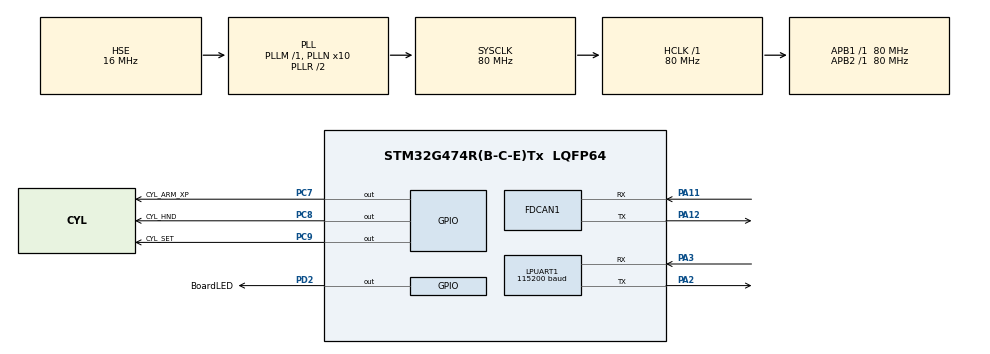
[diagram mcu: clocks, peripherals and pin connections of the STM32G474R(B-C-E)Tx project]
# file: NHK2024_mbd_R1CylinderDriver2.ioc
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FDCAN1.AutoRetransmission=DISABLE
FDCAN1.CalculateBaudRateNominal=1000000
FDCAN1.CalculateTimeBitNominal=1000
FDCAN1.CalculateTimeQuantumNominal=50.0
FDCAN1.DataPrescaler=2
FDCAN1.DataTimeSeg1=15
FDCAN1.DataTimeSeg2=4
FDCAN1.FrameFormat=FDCAN_FRAME_FD_BRS
FDCAN1.NominalPrescaler=4
FDCAN1.NominalTimeSeg1=15
FDCAN1.NominalTimeSeg2=4
FDCAN1.ProtocolException=ENABLE
FDCAN1.StdFiltersNbr=1
IWDG.Prescaler=IWDG_PRESCALER_32
IWDG.Reload=999
IWDG.Window=999
LPUART1.BaudRate=115200
Mcu.Family=STM32G4
Mcu.Name=STM32G474R(B-C-E)Tx
Mcu.Package=LQFP64
NVIC.FDCAN1_IT0_IRQn=true\:1\:0\:true\:false\:true\:true\:true\:true
NVIC.PriorityGroup=NVIC_PRIORITYGROUP_4
NVIC.TIM7_DAC_IRQn=true\:1\:0\:true\:false\:true\:true\:true\:true
PA11.Mode=FDCAN_Activate
PA11.Signal=FDCAN1_RX
PA12.Mode=FDCAN_Activate
PA12.Signal=FDCAN1_TX
PA13.Mode=Serial_Wire
PA13.Signal=SYS_JTMS-SWDIO
PA14.Mode=Serial_Wire
PA14.Signal=SYS_JTCK-SWCLK
PA2.Mode=Asynchronous
PA2.Signal=LPUART1_TX
PA3.Mode=Asynchronous
PA3.Signal=LPUART1_RX
PC7.GPIO_Label=CYL_ARM_XP
PC7.Signal=GPIO_Output
PC8.GPIO_Label=CYL_HND
PC8.Signal=GPIO_Output
PC9.GPIO_Label=CYL_SET
PC9.Signal=GPIO_Output
PD2.GPIO_Label=BoardLED
PD2.Signal=GPIO_Output
PF0-OSC_IN.Mode=HSE-External-Oscillator
PF0-OSC_IN.Signal=RCC_OSC_IN
PF1-OSC_OUT.Mode=HSE-External-Oscillator
PF1-OSC_OUT.Signal=RCC_OSC_OUT
ProjectManager.HeapSize=0x200
ProjectManager.StackSize=0x400
ProjectManager.TargetToolchain=STM32CubeIDE
RCC.ADC12Freq_Value=80000000
RCC.ADC345Freq_Value=80000000
RCC.AHBFreq_Value=80000000
RCC.APB1Freq_Value=80000000
RCC.APB1TimFreq_Value=80000000
RCC.APB2Freq_Value=80000000
RCC.APB2TimFreq_Value=80000000
RCC.CortexFreq_Value=80000000
RCC.EXTERNAL_CLOCK_VALUE=12288000
RCC.HCLKFreq_Value=80000000
RCC.HSE_VALUE=16000000
RCC.HSI48_VALUE=48000000
RCC.HSI_VALUE=16000000
RCC.LSE_VALUE=32768
RCC.PLLN=10
RCC.PLLSourceVirtual=RCC_PLLSOURCE_HSE
RCC.SYSCLKFreq_VALUE=80000000
RCC.SYSCLKSource=RCC_SYSCLKSOURCE_PLLCLK
RCC.USBFreq_Value=80000000
RCC.VCOOutputFreq_Value=160000000
TIM7.PeriodNoDither=4999
TIM7.Prescaler=7999
VP_IWDG_VS_IWDG.Mode=IWDG_Activate
VP_SYS_VS_DBSignals.Mode=DisableDeadBatterySignals
VP_TIM7_VS_ClockSourceINT.Mode=Enable_Timer
board=custom

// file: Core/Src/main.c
/* USER CODE BEGIN Header */
/**
  ******************************************************************************
  * @file           : main.c
  * @brief          : Main program body
  ******************************************************************************
  * @attention
  *
  * Copyright (c) 2024 STMicroelectronics.
  * All rights reserved.
  *
  * This software is licensed under terms that can be found in the LICENSE file
  * in the root directory of this software component.
  * If no LICENSE file comes with this software, it is provided AS-IS.
  *
  ******************************************************************************
  */

//単体で動かすときには苗アー�?との衝突に十�?気を付けること
/* USER CODE END Header */
#include "main.h"

/* USER CODE BEGIN Includes */
#include <stdio.h>
#include "R1CANIDList.h"

/* USER CODE END Includes */

/* USER CODE BEGIN PM */
#define CATCH 0
#define READY 1

#define UNEXPAND 1 // アーム格納
#define EXPAND 0 // アーム展開

#define DELAY 800

#define SHOOT 1
#define BACK 0

#define FALSE 0
#define TRUE 1
/* USER CODE END PM */

FDCAN_HandleTypeDef hfdcan1;

IWDG_HandleTypeDef hiwdg;

UART_HandleTypeDef hlpuart1;

TIM_HandleTypeDef htim7;

/* USER CODE BEGIN PV */
uint8_t isCatching = TRUE;

FDCAN_TxHeaderTypeDef FDCAN1_TxHeader;
FDCAN_RxHeaderTypeDef RxHeader;
uint8_t RxData[1];
/* USER CODE END PV */

void SystemClock_Config(void);
static void MX_GPIO_Init(void);
static void MX_FDCAN1_Init(void);
static void MX_LPUART1_UART_Init(void);
static void MX_TIM7_Init(void);
static void MX_IWDG_Init(void);
/* USER CODE BEGIN PFP */
void Hand_Catch(uint8_t hand_state);
void Arm_Expander(uint8_t UE);
void Shoot(uint8_t isShoot);
void Hand_Ready(void);

/* USER CODE END PFP */

/* USER CODE BEGIN 0 */
void Arm_Expander(uint8_t UE){
	if(UE == EXPAND){
		HAL_GPIO_WritePin(CYL_ARM_XP_GPIO_Port, CYL_ARM_XP_Pin, GPIO_PIN_SET);
	}
	else if(UE == UNEXPAND){
		HAL_GPIO_WritePin(CYL_ARM_XP_GPIO_Port, CYL_ARM_XP_Pin, GPIO_PIN_RESET);
	}
}

void Shoot(uint8_t isShoot){
	//ハンドが想定して�?な�?位置のまま�?填機構を稼働しな�?ためのコー�?
//	if(isCatching == FALSE){
////		Hand_Catch();
////		HAL_Delay(DELAY);
//	    printf("FALSE");
//	    return;
//	}

	if (isShoot == SHOOT) {
	    printf("SHOOT\r\n");
	    Arm_Expander(UNEXPAND);
	    Hand_Catch(CATCH);
	    HAL_GPIO_WritePin(CYL_SET_GPIO_Port, CYL_SET_Pin, GPIO_PIN_SET);
	} else if (isShoot == BACK) {
	    printf("BACK\r\n");
	    Arm_Expander(UNEXPAND);
	    Hand_Catch(CATCH);
	    HAL_GPIO_WritePin(CYL_SET_GPIO_Port, CYL_SET_Pin, GPIO_PIN_RESET);
	} else {
	    return;
	}
//	//�?填
//	HAL_GPIO_WritePin(CYL_SET_GPIO_Port, CYL_SET_Pin, GPIO_PIN_SET);
//	HAL_Delay(DELAY);
//	//�?填機構を戻�?
//	HAL_GPIO_WritePin(CYL_SET_GPIO_Port, CYL_SET_Pin, GPIO_PIN_RESET);
//	HAL_Delay(DELAY);
}

void Hand_Catch(uint8_t hand_state){
	//ハンドを閉じ�?
  if (hand_state == READY) {
      HAL_GPIO_WritePin(CYL_HND_GPIO_Port, CYL_HND_Pin, GPIO_PIN_SET);
      isCatching = FALSE;
  } else if (hand_state == CATCH) {
      HAL_GPIO_WritePin(CYL_HND_GPIO_Port, CYL_HND_Pin, GPIO_PIN_RESET);
      isCatching = TRUE;
  }
}

//ハンドをボールキャッチ待機状態に
void Hand_Ready(void){
	//ハンドを開く
	HAL_GPIO_WritePin(CYL_HND_GPIO_Port, CYL_HND_Pin, GPIO_PIN_SET);
	HAL_Delay(DELAY);
	//ハンドを下げ�?
	HAL_GPIO_WritePin(CYL_HND_GPIO_Port, CYL_HND_Pin, GPIO_PIN_SET);
	isCatching = FALSE;
}

void HAL_FDCAN_RxFifo0Callback(FDCAN_HandleTypeDef *hfdcan, uint32_t RxFifo0ITs){
	if ((RxFifo0ITs & FDCAN_IT_RX_FIFO0_NEW_MESSAGE) != RESET) {
		 if (HAL_FDCAN_GetRxMessage(hfdcan, FDCAN_RX_FIFO0, &RxHeader, RxData) != HAL_OK) {
			Error_Handler();
		}

//		 __disable_irq();

		switch(RxHeader.Identifier){
		case CANID_BALL_HAND_UNEXPAND:
		  /*
		   * 0 => Expand
		   * 1 => UnExpand
		   */
			Arm_Expander(RxData[0]);
			if (RxData[0] == 0) {
			    printf("ARM UnExpand\r\n");
			} else {
			    printf("ARM Expand\r\n");
			}
			break;

		case CANID_BALL_EJECTOR_CONTROLE:
			Shoot(RxData[0]);
			printf("Shoot %d\r\n", RxData[0]);
			break;

		case CANID_BALL_HAND_OPEN:
		  if (RxData[0] == CATCH) {
		      printf("Catch\r\n");
		      Hand_Catch(CATCH);
		  } else if (RxData[0] == READY) {
		      printf("Ready\r\n");
		      Hand_Catch(READY);
		  } else {
		      printf("error\r\n");
		  }
			break;

		case CANID_CHECK_IS_ACTIVE:
      if (HAL_IWDG_Refresh(&hiwdg) != HAL_OK)
      {
        Error_Handler();
      }
      break;

		default:
			break;
		}
//		 __enable_irq();
	}
}

int _write(int file, char *ptr, int len)
{
    HAL_UART_Transmit(&hlpuart1,(uint8_t *)ptr,len,10);
    return len;
}
/* USER CODE END 0 */

int main(void)
{
  /* USER CODE BEGIN 1 */
	setbuf(stdout, NULL);

  /* USER CODE END 1 */

  /* MCU Configuration--------------------------------------------------------*/

  /* Reset of all peripherals, Initializes the Flash interface and the Systick. */
  HAL_Init();

  /* Configure the system clock */
  SystemClock_Config();

  /* Initialize all configured peripherals */
  MX_GPIO_Init();
  MX_FDCAN1_Init();
  MX_LPUART1_UART_Init();
  MX_TIM7_Init();
  MX_IWDG_Init();
  /* USER CODE BEGIN 2 */
//  FDCAN_FilterTypeDef sFilterConfig;
//   	sFilterConfig.IdType = FDCAN_STANDARD_ID;
//   	sFilterConfig.FilterIndex = 0;
//   	sFilterConfig.FilterType = FDCAN_FILTER_MASK;
//   	sFilterConfig.FilterConfig = FDCAN_FILTER_TO_RXFIFO0;
//   	sFilterConfig.FilterID1 = CANID_SHOOT;
//   	sFilterConfig.FilterID2 = 0b11111111100;
//
//   	if (HAL_FDCAN_ConfigFilter(&hfdcan1, &sFilterConfig) != HAL_OK) {
//   			Error_Handler();
//   		}
//   		if (HAL_FDCAN_ConfigGlobalFilter(&hfdcan1, FDCAN_REJECT, FDCAN_REJECT, FDCAN_FILTER_REMOTE, FDCAN_FILTER_REMOTE) != HAL_OK) {
//   			Error_Handler();
//   		}
//
//   		if (HAL_FDCAN_Start(&hfdcan1) != HAL_OK) {
//   			Error_Handler();
//   		}
//
//   		if (HAL_FDCAN_ActivateNotification(&hfdcan1, FDCAN_IT_RX_FIFO0_NEW_MESSAGE, 0) != HAL_OK) {
//   			Error_Handler();
//   		}

  /* USER CODE END 2 */

  /* Infinite loop */
  /* USER CODE BEGIN WHILE */
//  HAL_GPIO_WritePin(CYL_HND_GPIO_Port, CYL_HND_Pin, GPIO_PIN_SET);
//  HAL_Delay(DELAY);
//  HAL_GPIO_WritePin(CYL_SET_GPIO_Port, CYL_SET_Pin, GPIO_PIN_SET);
  while (1)
  {
    /* USER CODE END WHILE */

  }
}

void SystemClock_Config(void)
{
  RCC_OscInitTypeDef RCC_OscInitStruct = {0};
  RCC_ClkInitTypeDef RCC_ClkInitStruct = {0};

  /** Configure the main internal regulator output voltage
  */
  HAL_PWREx_ControlVoltageScaling(PWR_REGULATOR_VOLTAGE_SCALE1);

  /** Initializes the RCC Oscillators according to the specified parameters
  * in the RCC_OscInitTypeDef structure.
  */
  RCC_OscInitStruct.OscillatorType = RCC_OSCILLATORTYPE_LSI|RCC_OSCILLATORTYPE_HSE;
  RCC_OscInitStruct.HSEState = RCC_HSE_ON;
  RCC_OscInitStruct.LSIState = RCC_LSI_ON;
  RCC_OscInitStruct.PLL.PLLState = RCC_PLL_ON;
  RCC_OscInitStruct.PLL.PLLSource = RCC_PLLSOURCE_HSE;
  RCC_OscInitStruct.PLL.PLLM = RCC_PLLM_DIV1;
  RCC_OscInitStruct.PLL.PLLN = 10;
  RCC_OscInitStruct.PLL.PLLP = RCC_PLLP_DIV2;
  RCC_OscInitStruct.PLL.PLLQ = RCC_PLLQ_DIV2;
  RCC_OscInitStruct.PLL.PLLR = RCC_PLLR_DIV2;
  if (HAL_RCC_OscConfig(&RCC_OscInitStruct) != HAL_OK)
  {
    Error_Handler();
  }

  /** Initializes the CPU, AHB and APB buses clocks
  */
  RCC_ClkInitStruct.ClockType = RCC_CLOCKTYPE_HCLK|RCC_CLOCKTYPE_SYSCLK
                              |RCC_CLOCKTYPE_PCLK1|RCC_CLOCKTYPE_PCLK2;
  RCC_ClkInitStruct.SYSCLKSource = RCC_SYSCLKSOURCE_PLLCLK;
  RCC_ClkInitStruct.AHBCLKDivider = RCC_SYSCLK_DIV1;
  RCC_ClkInitStruct.APB1CLKDivider = RCC_HCLK_DIV1;
  RCC_ClkInitStruct.APB2CLKDivider = RCC_HCLK_DIV1;

  if (HAL_RCC_ClockConfig(&RCC_ClkInitStruct, FLASH_LATENCY_2) != HAL_OK)
  {
    Error_Handler();
  }
}

static void MX_FDCAN1_Init(void)
{

  hfdcan1.Instance = FDCAN1;
  hfdcan1.Init.ClockDivider = FDCAN_CLOCK_DIV1;
  hfdcan1.Init.FrameFormat = FDCAN_FRAME_FD_BRS;
  hfdcan1.Init.Mode = FDCAN_MODE_NORMAL;
  hfdcan1.Init.AutoRetransmission = DISABLE;
  hfdcan1.Init.TransmitPause = DISABLE;
  hfdcan1.Init.ProtocolException = ENABLE;
  hfdcan1.Init.NominalPrescaler = 4;
  hfdcan1.Init.NominalSyncJumpWidth = 1;
  hfdcan1.Init.NominalTimeSeg1 = 15;
  hfdcan1.Init.NominalTimeSeg2 = 4;
  hfdcan1.Init.DataPrescaler = 2;
  hfdcan1.Init.DataSyncJumpWidth = 1;
  hfdcan1.Init.DataTimeSeg1 = 15;
  hfdcan1.Init.DataTimeSeg2 = 4;
  hfdcan1.Init.StdFiltersNbr = 1;
  hfdcan1.Init.ExtFiltersNbr = 0;
  hfdcan1.Init.TxFifoQueueMode = FDCAN_TX_FIFO_OPERATION;
  if (HAL_FDCAN_Init(&hfdcan1) != HAL_OK)
  {
    Error_Handler();
  }
  /* USER CODE BEGIN FDCAN1_Init 2 */

  FDCAN1_TxHeader.Identifier = 0x000;
  FDCAN1_TxHeader.IdType = FDCAN_STANDARD_ID;
  FDCAN1_TxHeader.TxFrameType = FDCAN_DATA_FRAME;
  FDCAN1_TxHeader.DataLength = FDCAN_DLC_BYTES_1;
  FDCAN1_TxHeader.ErrorStateIndicator = FDCAN_ESI_ACTIVE;
  FDCAN1_TxHeader.BitRateSwitch = FDCAN_BRS_ON;
  FDCAN1_TxHeader.FDFormat = FDCAN_FD_CAN;
  FDCAN1_TxHeader.TxEventFifoControl = FDCAN_NO_TX_EVENTS;
  FDCAN1_TxHeader.MessageMarker = 0;

  FDCAN_FilterTypeDef FDCAN1_sFilterConfig;
  FDCAN1_sFilterConfig.IdType = FDCAN_STANDARD_ID;
  FDCAN1_sFilterConfig.FilterIndex = 0;
  FDCAN1_sFilterConfig.FilterType = FDCAN_FILTER_RANGE;
  FDCAN1_sFilterConfig.FilterConfig = FDCAN_FILTER_TO_RXFIFO0;
  FDCAN1_sFilterConfig.FilterID1 = 0x00;
  FDCAN1_sFilterConfig.FilterID2 = 0x7ff;

  if (HAL_FDCAN_ConfigFilter(&hfdcan1, &FDCAN1_sFilterConfig) != HAL_OK) {
      Error_Handler();
  }
  if (HAL_FDCAN_ConfigGlobalFilter(&hfdcan1, FDCAN_REJECT, FDCAN_REJECT, FDCAN_FILTER_REMOTE, FDCAN_FILTER_REMOTE) !=
      HAL_OK) {
      Error_Handler();
  }
  if (HAL_FDCAN_Start(&hfdcan1) != HAL_OK) {
      Error_Handler();
  }
  if (HAL_FDCAN_ActivateNotification(&hfdcan1, FDCAN_IT_RX_FIFO0_NEW_MESSAGE, 0) != HAL_OK){
      Error_Handler();
  }

  /* USER CODE END FDCAN1_Init 2 */

}

static void MX_IWDG_Init(void)
{

  hiwdg.Instance = IWDG;
  hiwdg.Init.Prescaler = IWDG_PRESCALER_32;
  hiwdg.Init.Window = 999;
  hiwdg.Init.Reload = 999;
  if (HAL_IWDG_Init(&hiwdg) != HAL_OK)
  {
    Error_Handler();
  }

}

static void MX_LPUART1_UART_Init(void)
{

  hlpuart1.Instance = LPUART1;
  hlpuart1.Init.BaudRate = 115200;
  hlpuart1.Init.WordLength = UART_WORDLENGTH_8B;
  hlpuart1.Init.StopBits = UART_STOPBITS_1;
  hlpuart1.Init.Parity = UART_PARITY_NONE;
  hlpuart1.Init.Mode = UART_MODE_TX_RX;
  hlpuart1.Init.HwFlowCtl = UART_HWCONTROL_NONE;
  hlpuart1.Init.OneBitSampling = UART_ONE_BIT_SAMPLE_DISABLE;
  hlpuart1.Init.ClockPrescaler = UART_PRESCALER_DIV1;
  hlpuart1.AdvancedInit.AdvFeatureInit = UART_ADVFEATURE_NO_INIT;
  if (HAL_UART_Init(&hlpuart1) != HAL_OK)
  {
    Error_Handler();
  }
  if (HAL_UARTEx_SetTxFifoThreshold(&hlpuart1, UART_TXFIFO_THRESHOLD_1_8) != HAL_OK)
  {
    Error_Handler();
  }
  if (HAL_UARTEx_SetRxFifoThreshold(&hlpuart1, UART_RXFIFO_THRESHOLD_1_8) != HAL_OK)
  {
    Error_Handler();
  }
  if (HAL_UARTEx_DisableFifoMode(&hlpuart1) != HAL_OK)
  {
    Error_Handler();
  }

}

static void MX_TIM7_Init(void)
{

  TIM_MasterConfigTypeDef sMasterConfig = {0};

  htim7.Instance = TIM7;
  htim7.Init.Prescaler = 7999;
  htim7.Init.CounterMode = TIM_COUNTERMODE_UP;
  htim7.Init.Period = 4999;
  htim7.Init.AutoReloadPreload = TIM_AUTORELOAD_PRELOAD_DISABLE;
  if (HAL_TIM_Base_Init(&htim7) != HAL_OK)
  {
    Error_Handler();
  }
  sMasterConfig.MasterOutputTrigger = TIM_TRGO_RESET;
  sMasterConfig.MasterSlaveMode = TIM_MASTERSLAVEMODE_DISABLE;
  if (HAL_TIMEx_MasterConfigSynchronization(&htim7, &sMasterConfig) != HAL_OK)
  {
    Error_Handler();
  }

}

static void MX_GPIO_Init(void)
{
  GPIO_InitTypeDef GPIO_InitStruct = {0};

  /* GPIO Ports Clock Enable */
  __HAL_RCC_GPIOF_CLK_ENABLE();
  __HAL_RCC_GPIOA_CLK_ENABLE();
  __HAL_RCC_GPIOC_CLK_ENABLE();
  __HAL_RCC_GPIOD_CLK_ENABLE();

  /*Configure GPIO pin Output Level */
  HAL_GPIO_WritePin(GPIOC, CYL_ARM_XP_Pin|CYL_HND_Pin|CYL_SET_Pin, GPIO_PIN_RESET);

  /*Configure GPIO pin Output Level */
  HAL_GPIO_WritePin(BoardLED_GPIO_Port, BoardLED_Pin, GPIO_PIN_RESET);

  /*Configure GPIO pins : CYL_ARM_XP_Pin CYL_HND_Pin CYL_SET_Pin */
  GPIO_InitStruct.Pin = CYL_ARM_XP_Pin|CYL_HND_Pin|CYL_SET_Pin;
  GPIO_InitStruct.Mode = GPIO_MODE_OUTPUT_PP;
  GPIO_InitStruct.Pull = GPIO_NOPULL;
  GPIO_InitStruct.Speed = GPIO_SPEED_FREQ_LOW;
  HAL_GPIO_Init(GPIOC, &GPIO_InitStruct);

  /*Configure GPIO pin : BoardLED_Pin */
  GPIO_InitStruct.Pin = BoardLED_Pin;
  GPIO_InitStruct.Mode = GPIO_MODE_OUTPUT_PP;
  GPIO_InitStruct.Pull = GPIO_NOPULL;
  GPIO_InitStruct.Speed = GPIO_SPEED_FREQ_LOW;
  HAL_GPIO_Init(BoardLED_GPIO_Port, &GPIO_InitStruct);

}

void Error_Handler(void)
{
  /* USER CODE BEGIN Error_Handler_Debug */
  /* User can add his own implementation to report the HAL error return state */
  HAL_GPIO_WritePin(BoardLED_GPIO_Port, BoardLED_Pin, GPIO_PIN_SET);
  __disable_irq();
  while (1)
  {
//      printf("Error Handler\r\n");
  }
  /* USER CODE END Error_Handler_Debug */
}
